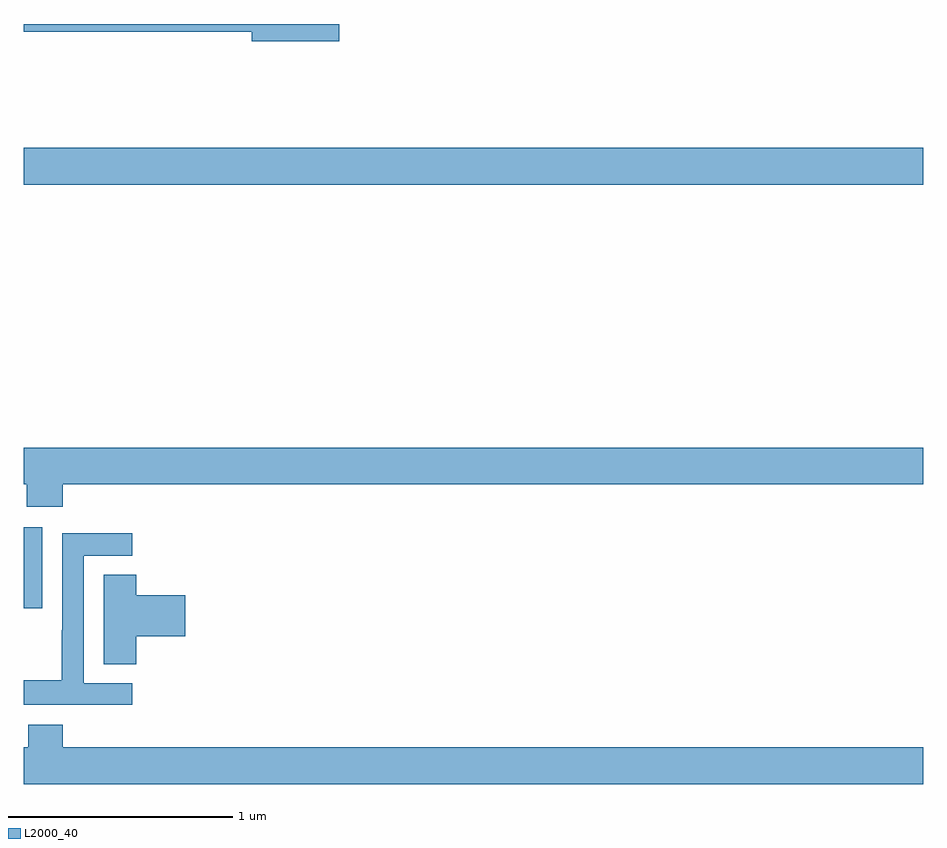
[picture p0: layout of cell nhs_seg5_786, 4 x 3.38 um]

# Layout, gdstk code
import gdstk
lib = gdstk.Library(unit=1e-6, precision=1e-09)
def R(c, l, rs):  # rectangles x0, y0, x1, y1
    for r in rs: c.add(gdstk.rectangle(r[:2], r[2:], *l))
def P(c, l, *ps):  # polygons
    for p in ps: c.add(gdstk.Polygon(p, *l))
L2000_40 = (2000, 40)

nhs_seg5_786 = lib.new_cell('nhs_seg5_786')
R(nhs_seg5_786, L2000_40, [(161,864.201,161.083,864.562), (161,866.084,165,866.248)])
P(nhs_seg5_786, L2000_40, [(162.403,866.799),(161,866.799),(161,866.764),(162.014,866.764),(162.014,866.722),(162.403,866.722)],
  [(161.174,864.752),(165,864.752),(165,864.916),(161,864.916),(161,864.752),(161.014,864.752),(161.014,864.653),(161.174,864.653)],
  [(161.482,863.868),(161.268,863.868),(161.268,864.435),(161.482,864.435),(161.482,864.534),(161.172,864.534),(161.172,864.104),(161.17,864.104),(161.17,863.881),(161,863.881),(161,863.772),(161.482,863.772)],
  [(161.501,864.077),(161.719,864.077),(161.719,864.26),(161.501,864.26),(161.501,864.35),(161.357,864.35),(161.357,863.953),(161.501,863.953)],
  [(165,863.584),(161.174,863.584),(161.174,863.683),(161.021,863.683),(161.021,863.584),(161,863.584),(161,863.42),(165,863.42)])

lib.write_gds('nhs_seg5_786.gds')
